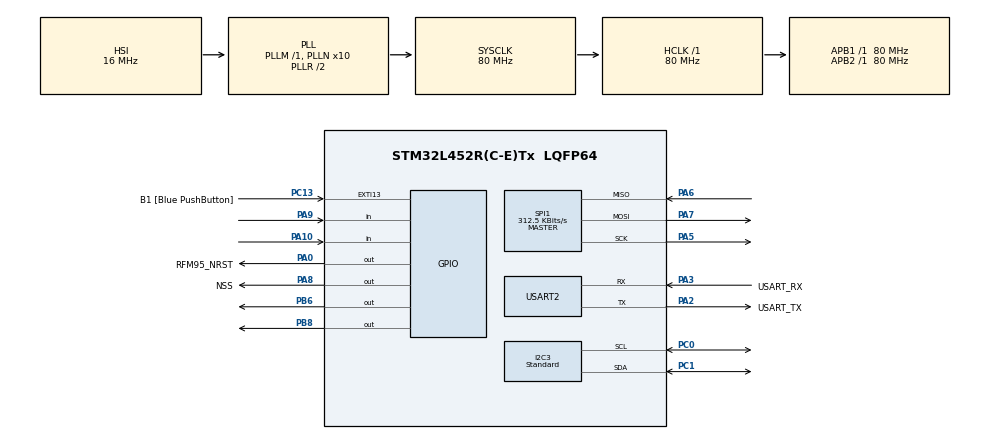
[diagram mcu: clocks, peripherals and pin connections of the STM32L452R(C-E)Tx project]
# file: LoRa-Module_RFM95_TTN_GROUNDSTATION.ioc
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I2C3.I2C_Speed_Mode=I2C_Standard
I2C3.Timing=0x10909CEC
Mcu.Family=STM32L4
Mcu.Name=STM32L452R(C-E)Tx
Mcu.Package=LQFP64
NVIC.PriorityGroup=NVIC_PRIORITYGROUP_4
PA0.GPIO_Label=RFM95_NRST
PA0.Signal=GPIO_Output
PA10.Signal=GPIO_Input
PA13\ (JTMS/SWDIO).GPIO_Label=TMS
PA13\ (JTMS/SWDIO).Mode=Serial_Wire
PA13\ (JTMS/SWDIO).Signal=SYS_JTMS-SWDIO
PA14\ (JTCK/SWCLK).GPIO_Label=TCK
PA14\ (JTCK/SWCLK).Mode=Serial_Wire
PA14\ (JTCK/SWCLK).Signal=SYS_JTCK-SWCLK
PA2.GPIO_Label=USART_TX
PA2.GPIO_Mode=GPIO_MODE_AF_PP
PA2.GPIO_PuPd=GPIO_NOPULL
PA2.GPIO_Speed=GPIO_SPEED_FREQ_VERY_HIGH
PA2.Mode=Asynchronous
PA2.Signal=USART2_TX
PA3.GPIO_Label=USART_RX
PA3.GPIO_Mode=GPIO_MODE_AF_PP
PA3.GPIO_PuPd=GPIO_NOPULL
PA3.GPIO_Speed=GPIO_SPEED_FREQ_VERY_HIGH
PA3.Mode=Asynchronous
PA3.Signal=USART2_RX
PA5.Mode=Full_Duplex_Master
PA5.Signal=SPI1_SCK
PA6.Mode=Full_Duplex_Master
PA6.Signal=SPI1_MISO
PA7.Mode=Full_Duplex_Master
PA7.Signal=SPI1_MOSI
PA8.GPIO_Label=NSS
PA8.Signal=GPIO_Output
PA9.Signal=GPIO_Input
PB3\ (JTDO/TRACESWO).GPIO_Label=SWO
PB3\ (JTDO/TRACESWO).Signal=SYS_JTDO-SWO
PB6.Signal=GPIO_Output
PB8.Signal=GPIO_Output
PC0.Mode=I2C
PC0.Signal=I2C3_SCL
PC1.Mode=I2C
PC1.Signal=I2C3_SDA
PC13.GPIO_Label=B1 [Blue PushButton]
PC13.GPIO_ModeDefaultEXTI=GPIO_MODE_IT_FALLING
PC13.GPIO_PuPd=GPIO_NOPULL
PC13.Signal=GPXTI13
PC14-OSC32_IN\ (PC14).Mode=LSE-External-Oscillator
PC14-OSC32_IN\ (PC14).Signal=RCC_OSC32_IN
PC15-OSC32_OUT\ (PC15).Mode=LSE-External-Oscillator
PC15-OSC32_OUT\ (PC15).Signal=RCC_OSC32_OUT
PH0-OSC_IN\ (PH0).Signal=RCC_OSC_IN
PH1-OSC_OUT\ (PH1).Signal=RCC_OSC_OUT
ProjectManager.HeapSize=0x200
ProjectManager.StackSize=0x400
ProjectManager.TargetToolchain=STM32CubeIDE
RCC.ADCFreq_Value=64000000
RCC.AHBFreq_Value=80000000
RCC.APB1Freq_Value=80000000
RCC.APB1TimFreq_Value=80000000
RCC.APB2Freq_Value=80000000
RCC.APB2TimFreq_Value=80000000
RCC.CortexFreq_Value=80000000
RCC.HCLKFreq_Value=80000000
RCC.HSE_VALUE=8000000
RCC.HSI48_VALUE=48000000
RCC.HSI_VALUE=16000000
RCC.MSI_VALUE=4000000
RCC.PLLN=10
RCC.PLLSourceVirtual=RCC_PLLSOURCE_HSI
RCC.PREFETCH_ENABLE=1
RCC.SYSCLKFreq_VALUE=80000000
RCC.SYSCLKSource=RCC_SYSCLKSOURCE_PLLCLK
RCC.USBFreq_Value=64000000
RCC.VCOOutputFreq_Value=160000000
SPI1.BaudRatePrescaler=SPI_BAUDRATEPRESCALER_256
SPI1.CalculateBaudRate=312.5 KBits/s
SPI1.DataSize=SPI_DATASIZE_8BIT
SPI1.Direction=SPI_DIRECTION_2LINES
SPI1.Mode=SPI_MODE_MASTER
SPI1.NSSPMode=SPI_NSS_PULSE_DISABLE
SPI1.TIMode=SPI_TIMODE_DISABLE
SPI1.VirtualType=VM_MASTER
USART2.VirtualMode-Asynchronous=VM_ASYNC
VP_LPTIM1_VS_LPTIM_counterModeInternalClock.Mode=Counts__internal_clock_event_00
board=NUCLEO-L452RE

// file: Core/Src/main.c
/* USER CODE BEGIN Header */
/**
 ******************************************************************************
 * @file           : main.c
 * @brief          : Main program body
 ******************************************************************************
 * @attention
 *
 * Copyright (c) 2022 STMicroelectronics.
 * All rights reserved.
 *
 * This software is licensed under terms that can be found in the LICENSE file
 * in the root directory of this software component.
 * If no LICENSE file comes with this software, it is provided AS-IS.
 *
 ******************************************************************************
 */
/* USER CODE END Header */
#include "main.h"

/* USER CODE BEGIN Includes */
#include "../../Core/Inc/stm32-hal-rfm95/rfm95.h"
/* USER CODE END Includes */

 I2C_HandleTypeDef hi2c3;

LPTIM_HandleTypeDef hlptim1;

SPI_HandleTypeDef hspi1;

UART_HandleTypeDef huart2;

void SystemClock_Config(void);
static void MX_GPIO_Init(void);
static void MX_USART2_UART_Init(void);
static void MX_I2C3_Init(void);
static void MX_SPI1_Init(void);
static void MX_LPTIM1_Init(void);
/* USER CODE BEGIN PFP */
#define PUTCHAR_PROTOTYPE int __io_putchar(int ch)

/* USER CODE END PFP */

int main(void)
{
  /* USER CODE BEGIN 1 */
	uint8_t buf[12]; // For UART
  /* USER CODE END 1 */

  /* MCU Configuration--------------------------------------------------------*/

  /* Reset of all peripherals, Initializes the Flash interface and the Systick. */
  HAL_Init();

  /* Configure the system clock */
  SystemClock_Config();

  /* Initialize all configured peripherals */
  MX_GPIO_Init();
  MX_USART2_UART_Init();
  MX_I2C3_Init();
  MX_SPI1_Init();
  MX_LPTIM1_Init();
  /* USER CODE BEGIN 2 */

  rfm95_handle_t rfm95_handle = {
      .spi_handle = &hspi1,
      .nss_port = GPIOB,
      .nss_pin = GPIO_PIN_6,
      .nrst_port = RFM95_NRST_GPIO_Port,
      .nrst_pin = RFM95_NRST_Pin,
      .irq_port = GPIOA,
      .irq_pin = GPIO_PIN_10,
      .dio5_port = GPIOA,
      .dio5_pin = GPIO_PIN_9,
      .device_address = {0x26, 0x0B, 0x3F, 0x79},
      .application_session_key = {0xCB, 0xB2, 0xE0, 0x78, 0xDB, 0x50, 0x85, 0xC5, 0x0F, 0x73, 0x62, 0x2B, 0x12, 0xE6, 0x43, 0x8B},
      .network_session_key = {0x8E, 0x05, 0x50, 0x9C, 0x74, 0x30, 0x4F, 0x8D, 0x33, 0x8B, 0x9B, 0x2D, 0xC2, 0x76, 0x3C, 0x56},
      .reload_frame_counter = NULL,
      .save_frame_counter = NULL,
	  .longitude = 8220250,
	  .longitude_or = {'E'},
	  .latitude = 47478520,
	  .latitude_or[0] = {'N'},
	  .altitude = 2461,
	  .indent = 0
  };

	// Initialise RFM95 module.
	if (!rfm95_init(&rfm95_handle)) {
		printf("RFM95 init failed\n\r");
	}else {
		printf("RFM95 init sucess\n\r");
	}

	uint8_t data_packet[] = { 0x01, 0x02, 0x03, 0x4 };

//	if (!rfm95_send_data(&rfm95_handle, data_packet, sizeof(data_packet))) {
//	    printf("RFM95 send failed\n\r");
//	} else {
//	    printf("RFM95 send success\n\r");
//	}
	//rfm95_send_data_groundstation(&rfm95_handle);

  /* USER CODE END 2 */

  /* Infinite loop */
  /* USER CODE BEGIN WHILE */
while (1) {

	//strcpy((char*) buf, "Startup\r\n");
//	HAL_UART_Transmit(&huart2, buf, strlen((char*) buf), HAL_MAX_DELAY);
    /* USER CODE END WHILE */

    /* USER CODE BEGIN 3 */
//	if (!rfm95_send_data(&rfm95_handle, data_packet, sizeof(data_packet))) {
//	    printf("RFM95 send failed\n\r");
//	} else {
//	    printf("RFM95 send success\n\r");
//	}
		if (!rfm95_send_data_groundstation(&rfm95_handle)) {
		    printf("RFM95 send failed\n\r");
		} else {
		    printf("RFM95 send success\n\r");
		}

	//rfm95_send_data_groundstation(&rfm95_handle);
	HAL_Delay(3000);
}
  /* USER CODE END 3 */
}

void SystemClock_Config(void)
{
  RCC_OscInitTypeDef RCC_OscInitStruct = {0};
  RCC_ClkInitTypeDef RCC_ClkInitStruct = {0};

  /** Configure the main internal regulator output voltage
  */
  if (HAL_PWREx_ControlVoltageScaling(PWR_REGULATOR_VOLTAGE_SCALE1) != HAL_OK)
  {
    Error_Handler();
  }

  /** Initializes the RCC Oscillators according to the specified parameters
  * in the RCC_OscInitTypeDef structure.
  */
  RCC_OscInitStruct.OscillatorType = RCC_OSCILLATORTYPE_HSI;
  RCC_OscInitStruct.HSIState = RCC_HSI_ON;
  RCC_OscInitStruct.HSICalibrationValue = RCC_HSICALIBRATION_DEFAULT;
  RCC_OscInitStruct.PLL.PLLState = RCC_PLL_ON;
  RCC_OscInitStruct.PLL.PLLSource = RCC_PLLSOURCE_HSI;
  RCC_OscInitStruct.PLL.PLLM = 1;
  RCC_OscInitStruct.PLL.PLLN = 10;
  RCC_OscInitStruct.PLL.PLLP = RCC_PLLP_DIV7;
  RCC_OscInitStruct.PLL.PLLQ = RCC_PLLQ_DIV2;
  RCC_OscInitStruct.PLL.PLLR = RCC_PLLR_DIV2;
  if (HAL_RCC_OscConfig(&RCC_OscInitStruct) != HAL_OK)
  {
    Error_Handler();
  }

  /** Initializes the CPU, AHB and APB buses clocks
  */
  RCC_ClkInitStruct.ClockType = RCC_CLOCKTYPE_HCLK|RCC_CLOCKTYPE_SYSCLK
                              |RCC_CLOCKTYPE_PCLK1|RCC_CLOCKTYPE_PCLK2;
  RCC_ClkInitStruct.SYSCLKSource = RCC_SYSCLKSOURCE_PLLCLK;
  RCC_ClkInitStruct.AHBCLKDivider = RCC_SYSCLK_DIV1;
  RCC_ClkInitStruct.APB1CLKDivider = RCC_HCLK_DIV1;
  RCC_ClkInitStruct.APB2CLKDivider = RCC_HCLK_DIV1;

  if (HAL_RCC_ClockConfig(&RCC_ClkInitStruct, FLASH_LATENCY_4) != HAL_OK)
  {
    Error_Handler();
  }
}

static void MX_I2C3_Init(void)
{

  hi2c3.Instance = I2C3;
  hi2c3.Init.Timing = 0x10909CEC;
  hi2c3.Init.OwnAddress1 = 0;
  hi2c3.Init.AddressingMode = I2C_ADDRESSINGMODE_7BIT;
  hi2c3.Init.DualAddressMode = I2C_DUALADDRESS_DISABLE;
  hi2c3.Init.OwnAddress2 = 0;
  hi2c3.Init.OwnAddress2Masks = I2C_OA2_NOMASK;
  hi2c3.Init.GeneralCallMode = I2C_GENERALCALL_DISABLE;
  hi2c3.Init.NoStretchMode = I2C_NOSTRETCH_DISABLE;
  if (HAL_I2C_Init(&hi2c3) != HAL_OK)
  {
    Error_Handler();
  }

  /** Configure Analogue filter
  */
  if (HAL_I2CEx_ConfigAnalogFilter(&hi2c3, I2C_ANALOGFILTER_ENABLE) != HAL_OK)
  {
    Error_Handler();
  }

  /** Configure Digital filter
  */
  if (HAL_I2CEx_ConfigDigitalFilter(&hi2c3, 0) != HAL_OK)
  {
    Error_Handler();
  }

}

static void MX_LPTIM1_Init(void)
{

  hlptim1.Instance = LPTIM1;
  hlptim1.Init.Clock.Source = LPTIM_CLOCKSOURCE_APBCLOCK_LPOSC;
  hlptim1.Init.Clock.Prescaler = LPTIM_PRESCALER_DIV1;
  hlptim1.Init.Trigger.Source = LPTIM_TRIGSOURCE_SOFTWARE;
  hlptim1.Init.OutputPolarity = LPTIM_OUTPUTPOLARITY_HIGH;
  hlptim1.Init.UpdateMode = LPTIM_UPDATE_IMMEDIATE;
  hlptim1.Init.CounterSource = LPTIM_COUNTERSOURCE_INTERNAL;
  hlptim1.Init.Input1Source = LPTIM_INPUT1SOURCE_GPIO;
  hlptim1.Init.Input2Source = LPTIM_INPUT2SOURCE_GPIO;
  if (HAL_LPTIM_Init(&hlptim1) != HAL_OK)
  {
    Error_Handler();
  }

}

static void MX_SPI1_Init(void)
{

  /* SPI1 parameter configuration*/
  hspi1.Instance = SPI1;
  hspi1.Init.Mode = SPI_MODE_MASTER;
  hspi1.Init.Direction = SPI_DIRECTION_2LINES;
  hspi1.Init.DataSize = SPI_DATASIZE_8BIT;
  hspi1.Init.CLKPolarity = SPI_POLARITY_LOW;
  hspi1.Init.CLKPhase = SPI_PHASE_1EDGE;
  hspi1.Init.NSS = SPI_NSS_SOFT;
  hspi1.Init.BaudRatePrescaler = SPI_BAUDRATEPRESCALER_256;
  hspi1.Init.FirstBit = SPI_FIRSTBIT_MSB;
  hspi1.Init.TIMode = SPI_TIMODE_DISABLE;
  hspi1.Init.CRCCalculation = SPI_CRCCALCULATION_DISABLE;
  hspi1.Init.CRCPolynomial = 7;
  hspi1.Init.CRCLength = SPI_CRC_LENGTH_DATASIZE;
  hspi1.Init.NSSPMode = SPI_NSS_PULSE_DISABLE;
  if (HAL_SPI_Init(&hspi1) != HAL_OK)
  {
    Error_Handler();
  }

}

static void MX_USART2_UART_Init(void)
{

  huart2.Instance = USART2;
  huart2.Init.BaudRate = 115200;
  huart2.Init.WordLength = UART_WORDLENGTH_8B;
  huart2.Init.StopBits = UART_STOPBITS_1;
  huart2.Init.Parity = UART_PARITY_NONE;
  huart2.Init.Mode = UART_MODE_TX_RX;
  huart2.Init.HwFlowCtl = UART_HWCONTROL_NONE;
  huart2.Init.OverSampling = UART_OVERSAMPLING_16;
  huart2.Init.OneBitSampling = UART_ONE_BIT_SAMPLE_DISABLE;
  huart2.AdvancedInit.AdvFeatureInit = UART_ADVFEATURE_NO_INIT;
  if (HAL_UART_Init(&huart2) != HAL_OK)
  {
    Error_Handler();
  }

}

static void MX_GPIO_Init(void)
{
  GPIO_InitTypeDef GPIO_InitStruct = {0};

  /* GPIO Ports Clock Enable */
  __HAL_RCC_GPIOC_CLK_ENABLE();
  __HAL_RCC_GPIOH_CLK_ENABLE();
  __HAL_RCC_GPIOA_CLK_ENABLE();
  __HAL_RCC_GPIOB_CLK_ENABLE();

  /*Configure GPIO pin Output Level */
  HAL_GPIO_WritePin(GPIOA, RFM95_NRST_Pin|NSS_Pin, GPIO_PIN_RESET);

  /*Configure GPIO pin Output Level */
  HAL_GPIO_WritePin(GPIOB, GPIO_PIN_6|GPIO_PIN_8, GPIO_PIN_RESET);

  /*Configure GPIO pin : B1_Pin */
  GPIO_InitStruct.Pin = B1_Pin;
  GPIO_InitStruct.Mode = GPIO_MODE_IT_FALLING;
  GPIO_InitStruct.Pull = GPIO_NOPULL;
  HAL_GPIO_Init(B1_GPIO_Port, &GPIO_InitStruct);

  /*Configure GPIO pins : RFM95_NRST_Pin NSS_Pin */
  GPIO_InitStruct.Pin = RFM95_NRST_Pin|NSS_Pin;
  GPIO_InitStruct.Mode = GPIO_MODE_OUTPUT_PP;
  GPIO_InitStruct.Pull = GPIO_NOPULL;
  GPIO_InitStruct.Speed = GPIO_SPEED_FREQ_LOW;
  HAL_GPIO_Init(GPIOA, &GPIO_InitStruct);

  /*Configure GPIO pins : PA9 PA10 */
  GPIO_InitStruct.Pin = GPIO_PIN_9|GPIO_PIN_10;
  GPIO_InitStruct.Mode = GPIO_MODE_INPUT;
  GPIO_InitStruct.Pull = GPIO_NOPULL;
  HAL_GPIO_Init(GPIOA, &GPIO_InitStruct);

  /*Configure GPIO pins : PB6 PB8 */
  GPIO_InitStruct.Pin = GPIO_PIN_6|GPIO_PIN_8;
  GPIO_InitStruct.Mode = GPIO_MODE_OUTPUT_PP;
  GPIO_InitStruct.Pull = GPIO_NOPULL;
  GPIO_InitStruct.Speed = GPIO_SPEED_FREQ_LOW;
  HAL_GPIO_Init(GPIOB, &GPIO_InitStruct);

}

/* USER CODE BEGIN 4 */
/**
 * @brief  Retargets the C library printf function to the USART.
 * @param  None
 * @retval None
 */
PUTCHAR_PROTOTYPE {
	/* Place your implementation of fputc here */
	/* e.g. write a character to the USART1 and Loop until the end of transmission */
	HAL_UART_Transmit(&huart2, (uint8_t*) &ch, 1, 0xFFFF);

	return ch;
}

volatile uint32_t lptim_tick_msb = 0;

static uint32_t get_precision_tick()
{
    __disable_irq();
    uint32_t precision_tick = lptim_tick_msb | HAL_LPTIM_ReadCounter(&hlptim1);
    __enable_irq();
    return precision_tick;
}

void HAL_LPTIM_AutoReloadMatchCallback(LPTIM_HandleTypeDef *hlptim)
{
    lptim_tick_msb += 0x10000;
}

static void precision_sleep_until(uint32_t target_ticks)
{
    while (true) {

    uint32_t start_ticks = get_precision_tick();
    if (start_ticks > target_ticks) {
        break;
    }

    uint32_t ticks_to_sleep = target_ticks - start_ticks;

    // Only use sleep for at least 10 ticks.
    if (ticks_to_sleep >= 10) {

        // Calculate required value of compare register for the sleep minus a small buffer time to compensate
        // for any ticks that occur while we perform this calculation.
        uint32_t compare = (start_ticks & 0xffff) + ticks_to_sleep - 2;

        // If the counter auto-reloads we will be woken up anyway.
        if (compare > 0xffff) {
            HAL_SuspendTick();
            HAL_PWREx_EnterSTOP2Mode(PWR_STOPENTRY_WFI);
            HAL_ResumeTick();

        // Otherwise, set compare register and use the compare match interrupt to wake up in time.
        } else {
            __HAL_LPTIM_COMPARE_SET(&hlptim1, compare);
            while (!__HAL_LPTIM_GET_FLAG(&hlptim1, LPTIM_FLAG_CMPOK));
            __HAL_LPTIM_CLEAR_FLAG(&hlptim1, LPTIM_FLAG_CMPM);
            __HAL_LPTIM_ENABLE_IT(&hlptim1, LPTIM_IT_CMPM);
            HAL_SuspendTick();
            HAL_PWREx_EnterSTOP2Mode(PWR_STOPENTRY_WFI);
            HAL_ResumeTick();
            __HAL_LPTIM_DISABLE_IT(&hlptim1, LPTIM_IT_CMPM);
        }
    } else {
        break;
    }

    // Busy wait until we have reached the target.
    while (get_precision_tick() < target_ticks);
}
}

static uint8_t random_int(uint8_t max)
{
    return 0; // Use ADC other means of obtaining a random number.
}

static uint8_t get_battery_level()
{
    return 0xff; // 0xff = Unknown battery level.
}

/* USER CODE END 4 */

void Error_Handler(void)
{
__disable_irq();
while (1) {
}
}
